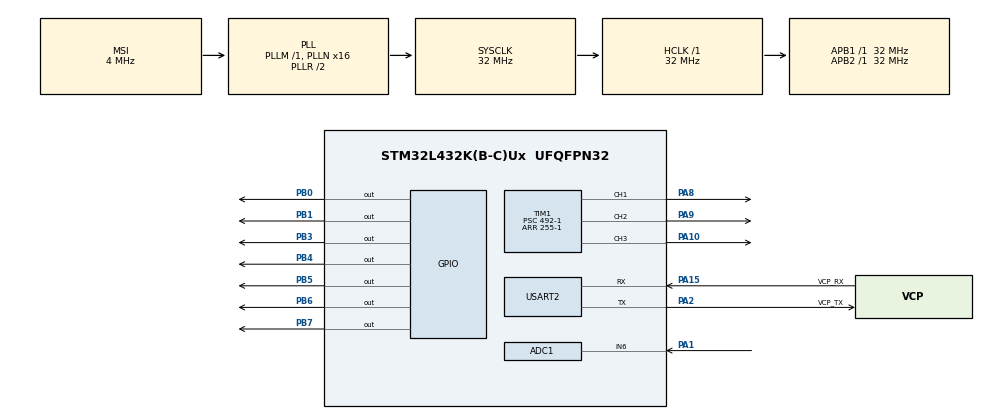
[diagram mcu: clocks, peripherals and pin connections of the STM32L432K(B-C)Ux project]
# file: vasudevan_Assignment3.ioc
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ADC1.Channel-0\#ChannelRegularConversion=ADC_CHANNEL_6
ADC1.NbrOfConversionFlag=1
ADC1.OffsetNumber-0\#ChannelRegularConversion=ADC_OFFSET_NONE
ADC1.Rank-0\#ChannelRegularConversion=1
ADC1.SamplingTime-0\#ChannelRegularConversion=ADC_SAMPLETIME_2CYCLES_5
ADC1.master=1
Mcu.Family=STM32L4
Mcu.Name=STM32L432K(B-C)Ux
Mcu.Package=UFQFPN32
NVIC.PriorityGroup=NVIC_PRIORITYGROUP_4
PA0.GPIO_Label=MCO [High speed clock in]
PA0.Mode=HSE-External-Clock-Source-for-LittleOrca
PA0.Signal=RCC_CK_IN
PA1.Signal=ADCx_IN6
PA10.Signal=S_TIM1_CH3
PA13\ (JTMS-SWDIO).GPIO_Label=SWDIO
PA13\ (JTMS-SWDIO).Mode=Serial_Wire
PA13\ (JTMS-SWDIO).Signal=SYS_JTMS-SWDIO
PA14\ (JTCK-SWCLK).GPIO_Label=SWCLK
PA14\ (JTCK-SWCLK).Mode=Serial_Wire
PA14\ (JTCK-SWCLK).Signal=SYS_JTCK-SWCLK
PA15\ (JTDI).GPIO_Label=VCP_RX
PA15\ (JTDI).Mode=Asynchronous
PA15\ (JTDI).Signal=USART2_RX
PA2.GPIO_Label=VCP_TX
PA2.Mode=Asynchronous
PA2.Signal=USART2_TX
PA8.Signal=S_TIM1_CH1
PA9.Signal=S_TIM1_CH2
PB0.Signal=GPIO_Output
PB1.Signal=GPIO_Output
PB3\ (JTDO-TRACESWO).Signal=GPIO_Output
PB4\ (NJTRST).Signal=GPIO_Output
PB5.Signal=GPIO_Output
PB6.Signal=GPIO_Output
PB7.Signal=GPIO_Output
PC14-OSC32_IN\ (PC14).Mode=LSE-External-Oscillator
PC14-OSC32_IN\ (PC14).Signal=RCC_OSC32_IN
PC15-OSC32_OUT\ (PC15).Mode=LSE-External-Oscillator
PC15-OSC32_OUT\ (PC15).Signal=RCC_OSC32_OUT
ProjectManager.HeapSize=0x200
ProjectManager.StackSize=0x400
ProjectManager.TargetToolchain=STM32CubeIDE
RCC.AHBFreq_Value=32000000
RCC.APB1Freq_Value=32000000
RCC.APB1TimFreq_Value=32000000
RCC.APB2Freq_Value=32000000
RCC.APB2TimFreq_Value=32000000
RCC.CortexFreq_Value=32000000
RCC.HCLKFreq_Value=32000000
RCC.HSE_VALUE=8000000
RCC.HSI16_VALUE=16000000
RCC.HSI48_VALUE=48000000
RCC.HSI_VALUE=16000000
RCC.MSI_VALUE=4000000
RCC.PLLMUL=RCC_PLLMUL_4
RCC.PLLN=16
RCC.SYSCLKFreq_VALUE=32000000
RCC.SYSCLKSource=RCC_SYSCLKSOURCE_PLLCLK
RCC.VCOOutputFreq_Value=64000000
SH.ADCx_IN6.0=ADC1_IN6,IN6-Single-Ended
SH.S_TIM1_CH1.0=TIM1_CH1,PWM Generation1 CH1
SH.S_TIM1_CH2.0=TIM1_CH2,PWM Generation2 CH2
SH.S_TIM1_CH3.0=TIM1_CH3,PWM Generation3 CH3
TIM1.Channel-PWM\ Generation1\ CH1=TIM_CHANNEL_1
TIM1.Channel-PWM\ Generation2\ CH2=TIM_CHANNEL_2
TIM1.Channel-PWM\ Generation3\ CH3=TIM_CHANNEL_3
TIM1.Period=255-1
TIM1.Prescaler=492-1
USART2.VirtualMode-Asynchronous=VM_ASYNC
VP_TIM1_VS_ClockSourceINT.Mode=Internal
VP_TIM2_VS_ClockSourceINT.Mode=Internal
board=NUCLEO-L432KC

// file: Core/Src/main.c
/* USER CODE BEGIN Header */
/**
  ******************************************************************************
  * FILE           : main.c
  * PROJECT        : vasudevan_assignment3
  * PROGRAMMER     : Pranav Manakkulamparambil Vasudevan
  * FIRST VERSION  : 2020-03-22
  * DESCRIPTION    : Code for embedded system implementing the multi-access-point
  *                  thermometer by using the STM32L432 Nucleo-32 board.This
  *                  multi-access point thermometer can be used in hospitals to
  *                  monitor patients’temperatures from different location.This
  *                  embedded software determines the temperature of patient using
  *                  Mcp9700 thermistor and converted it in to degree Celsius and
  *                  degree fahrenheiet. The temperature values are displayed on
  *                  lcd HD44780 and putty. The RGB led light indicates different
  *                  colors when the temperature are in different region. When the
  *                  temperature is not in the desired region an appropriate message
  *                  is shown in the putty screen.
  ******************************************************************************
  * @attention
  *
  * <h2><center>&copy; Copyright (c) 2020 STMicroelectronics.
  * All rights reserved.</center></h2>
  *
  * This software component is licensed by ST under BSD 3-Clause license,
  * the "License"; You may not use this file except in compliance with the
  * License. You may obtain a copy of the License at:
  *                        opensource.org/licenses/BSD-3-Clause
  *
  ******************************************************************************
  */
/* USER CODE END Header */

#include "main.h"
#include "stdio.h"// header file for printf function

ADC_HandleTypeDef hadc1;

TIM_HandleTypeDef htim1;
TIM_HandleTypeDef htim2;

UART_HandleTypeDef huart2;

void SystemClock_Config(void);
static void MX_GPIO_Init(void);
static void MX_USART2_UART_Init(void);
static void MX_ADC1_Init(void);
static void MX_TIM1_Init(void);
static void MX_TIM2_Init(void);

/* USER CODE BEGIN 0 */

char stringBuffer[16]= {0}; // string value for sprintf function for the lcd
long measureVoltage=0.0; //initializing the ADC value form the thermistor
float sensorvoltage=0.0;// initializing the voltage value from the sensor at
                           //a particular temperature
float tempDegree=0.0;// initializing the temperature value in degree celsius
float tempFahrenheit=0.0;//initializing the temperature value in degree fahrenheit
float cal= 0.1132;// calebrated error factor for thermistor to have an accurate measurement

/*FUNCTION   :void turnLed(uint8_t red, uint8_t green, uint8_t blue)

 * DESCRIPTION: store the decimal value equivalent to the intensity of the corresponding
 *              color to the register.0 indicates the color is off completely and 255
 *              indicates the color is fully turned on. secondary colors can generated
 *              by mixing the primary colors with different intensity

 * PARAMETERS : red : intensity of red light
 *              green: intensity of green light
 *              blue : intensity of blue light

 * RETURNS    : Nothing
 */

void turnLed(uint8_t red, uint8_t green, uint8_t blue)
{
	htim1.Instance->CCR1 = red; //intensity of red light
	htim1.Instance->CCR2 = green;//intensity of green  light
	htim1.Instance->CCR3 = blue;//intensity of blue light
}
/*FUNCTION   :float measureTemp(ADC_HandleTypeDef *hadc1)

 * DESCRIPTION: Get the 12 bit ADC values from the thermistor and convert it
                in to degree celsius and degree fahrenheit. Printing the temperature
                values to putty screen
 * PARAMETERS : ADC_HandleTypeDef *hadc1 : the address of type definition for ADC
 * RETURNS    : tempDegree : temperature in degree celsius
 */
float measureTemp(ADC_HandleTypeDef *hadc1)
{
	HAL_ADC_Start(&*hadc1);//enable adc and conversion of regular group
	HAL_ADC_PollForConversion(&*hadc1, 1000);// fuction call for poll conversion
	HAL_ADC_GetValue(&*hadc1);// fuction for getting the adc value from thermistor
	measureVoltage = HAL_ADC_GetValue(&*hadc1);//assigning the obatained value of adc to variable
	sensorvoltage = (3.3 / 4095) * measureVoltage;//determining the voltage from thermistor
	sensorvoltage = sensorvoltage + cal;// calebrated voltage from the sensor
	tempDegree = (sensorvoltage - 0.5) * 100;//converting the sensor voltage into degree celsius
	tempFahrenheit = (tempDegree * 9.0 / 5.0) + 32.0;//converting the degree celsius into degree fahrenheit
	printf("\n\rtemperature in Degree Celsius :%f\r\n", tempDegree);//print celsius value to putty
	printf("\ntemperature in Degree Fahrenheit :%f\r\n", tempFahrenheit);//print fahrenheit value to putty
	HAL_ADC_Stop(&*hadc1);//stop adc convertion of regular group
	return tempDegree;// returning celsius value.
}
/*FUNCTION   :void ledSignal(float tempDegree)

 * DESCRIPTION: Light the led into different colors depending up on the temperature
 * PARAMETERS : tempDegree : the temperature in degree celsius
 * RETURNS    : nothing
 */
void ledSignal(float tempDegree)
{
	if (-40 <= tempDegree && tempDegree <= 20.5)
	{
		turnLed(0, 0, 255); //blue
	}
	else if (20.5 < tempDegree && tempDegree <= 37.3)
	{
		turnLed(0, 255, 0); //green
	}
	else if (37.3 < tempDegree && tempDegree <= 39.5)
	{
		turnLed(255, 165, 0); //orange
	}
	else if (39.5 < tempDegree && tempDegree <= 150.0)
	{
		turnLed(255, 0, 0); //red
	}
	else// when the temperature not in the desired range
	{
		printf("CRITICAL (system fail):temperature is not in the limits\r\n");
        turnLed(255, 255, 255);//white color showed to indicate the system is failed
	}
}
/*FUNCTION   :messageLed(float tempDegree)
 * DESCRIPTION: shows appropriate verdicts depends on the temperature value
 * PARAMETERS : tempDegree : the temperature in degree celsius
 * RETURNS    : nothing
 */
void messageLed(float tempDegree)
{
	HD44780_GotoXY(0, 1);// setting the cursor to the second row of the lcd
	if (-40 <= tempDegree && tempDegree <= 20.5)
	{
		HD44780_PutStr("Low temp");
		HAL_Delay(2000);
	}
	else if (20.5 < tempDegree && tempDegree <= 37.3)
	{
		HD44780_PutStr("Medium temp");
		HAL_Delay(2000);
	} else if
	(37.3 < tempDegree && tempDegree <= 39.5)
	{
		HD44780_PutStr("Precaution");
		HAL_Delay(2000);
	}
	else if (39.5 < tempDegree && tempDegree <= 150.0) {
		HD44780_PutStr("High temp");
		HAL_Delay(2000);
	}
	else // when the temperature not in the desired range
	{
		HD44780_PutStr("Warning");
		HAL_Delay(2000);
	}
}

/*FUNCTION   :void lcdDisplay(char stringBuffer[16], float tempDegree, float tempFahrenheit)

 * DESCRIPTION: Get the 12 bit ADC values from the thermistor and convert it
                in to degree celsius and degree fahrenheit. Printing the temperature
                values to putty screen

 * PARAMETERS : stringBuffer[16]: buffer value for the lcd screen
 *              tempDegree: temperature in degree celsius
 *              tempFahernheit: temperature in degree Fahernheit
 *
 * RETURNS    : nothing
 */
void lcdDisplay(char stringBuffer[16], float tempDegree, float tempFahrenheit)
{

	HD44780_Init();// initializing lcd
	sprintf(stringBuffer, "Deg =%f", tempDegree);//printing celsius value
	HD44780_PutStr(stringBuffer);// string buffer value
	messageLed(tempDegree);//fuction call to print the verdict
	HAL_Delay(2000);
	HD44780_ClrScr();//clear lcd
	HAL_Delay(1);
	sprintf(stringBuffer, "Far =%f", tempFahrenheit);//printing fahrenheit value
	HD44780_PutStr(stringBuffer);// string buffer value
	messageLed(tempDegree);//funtion call to print the verdict
	HAL_Delay(2000);
}

/* USER CODE END 0 */

int main(void)
{

  /* MCU Configuration--------------------------------------------------------*/

  /* Reset of all peripherals, Initializes the Flash interface and the Systick. */
  HAL_Init();

  /* Configure the system clock */
  SystemClock_Config();

  /* Initialize all configured peripherals */
  MX_GPIO_Init();
  MX_USART2_UART_Init();
  MX_ADC1_Init();
  MX_TIM1_Init();
  MX_TIM2_Init();
  /* USER CODE BEGIN 2 */
  //initializing timer 1 for 3 channels which is generated internally for PWM
  HAL_TIM_PWM_Start (&htim1, TIM_CHANNEL_1);//
  HAL_TIM_PWM_Start (&htim1, TIM_CHANNEL_2);
  HAL_TIM_PWM_Start (&htim1, TIM_CHANNEL_3);

  /* USER CODE END 2 */

  /* Infinite loop */
  /* USER CODE BEGIN WHILE */
  while (1)
  {

		measureTemp(&hadc1);// function call for measure the temperature
		ledSignal(tempDegree);// function call for light the led
        lcdDisplay(stringBuffer, tempDegree, tempFahrenheit);//function call to display the temp values to the lcd
    /* USER CODE END WHILE */

  }
}

void SystemClock_Config(void)
{
  RCC_OscInitTypeDef RCC_OscInitStruct = {0};
  RCC_ClkInitTypeDef RCC_ClkInitStruct = {0};
  RCC_PeriphCLKInitTypeDef PeriphClkInit = {0};

  /** Configure LSE Drive Capability
  */
  HAL_PWR_EnableBkUpAccess();
  __HAL_RCC_LSEDRIVE_CONFIG(RCC_LSEDRIVE_LOW);
  /** Initializes the CPU, AHB and APB busses clocks
  */
  RCC_OscInitStruct.OscillatorType = RCC_OSCILLATORTYPE_LSE|RCC_OSCILLATORTYPE_MSI;
  RCC_OscInitStruct.LSEState = RCC_LSE_ON;
  RCC_OscInitStruct.MSIState = RCC_MSI_ON;
  RCC_OscInitStruct.MSICalibrationValue = 0;
  RCC_OscInitStruct.MSIClockRange = RCC_MSIRANGE_6;
  RCC_OscInitStruct.PLL.PLLState = RCC_PLL_ON;
  RCC_OscInitStruct.PLL.PLLSource = RCC_PLLSOURCE_MSI;
  RCC_OscInitStruct.PLL.PLLM = 1;
  RCC_OscInitStruct.PLL.PLLN = 16;
  RCC_OscInitStruct.PLL.PLLP = RCC_PLLP_DIV7;
  RCC_OscInitStruct.PLL.PLLQ = RCC_PLLQ_DIV2;
  RCC_OscInitStruct.PLL.PLLR = RCC_PLLR_DIV2;
  if (HAL_RCC_OscConfig(&RCC_OscInitStruct) != HAL_OK)
  {
    Error_Handler();
  }
  /** Initializes the CPU, AHB and APB busses clocks
  */
  RCC_ClkInitStruct.ClockType = RCC_CLOCKTYPE_HCLK|RCC_CLOCKTYPE_SYSCLK
                              |RCC_CLOCKTYPE_PCLK1|RCC_CLOCKTYPE_PCLK2;
  RCC_ClkInitStruct.SYSCLKSource = RCC_SYSCLKSOURCE_PLLCLK;
  RCC_ClkInitStruct.AHBCLKDivider = RCC_SYSCLK_DIV1;
  RCC_ClkInitStruct.APB1CLKDivider = RCC_HCLK_DIV1;
  RCC_ClkInitStruct.APB2CLKDivider = RCC_HCLK_DIV1;

  if (HAL_RCC_ClockConfig(&RCC_ClkInitStruct, FLASH_LATENCY_1) != HAL_OK)
  {
    Error_Handler();
  }
  PeriphClkInit.PeriphClockSelection = RCC_PERIPHCLK_USART2|RCC_PERIPHCLK_ADC;
  PeriphClkInit.Usart2ClockSelection = RCC_USART2CLKSOURCE_PCLK1;
  PeriphClkInit.AdcClockSelection = RCC_ADCCLKSOURCE_PLLSAI1;
  PeriphClkInit.PLLSAI1.PLLSAI1Source = RCC_PLLSOURCE_MSI;
  PeriphClkInit.PLLSAI1.PLLSAI1M = 1;
  PeriphClkInit.PLLSAI1.PLLSAI1N = 8;
  PeriphClkInit.PLLSAI1.PLLSAI1P = RCC_PLLP_DIV7;
  PeriphClkInit.PLLSAI1.PLLSAI1Q = RCC_PLLQ_DIV2;
  PeriphClkInit.PLLSAI1.PLLSAI1R = RCC_PLLR_DIV2;
  PeriphClkInit.PLLSAI1.PLLSAI1ClockOut = RCC_PLLSAI1_ADC1CLK;
  if (HAL_RCCEx_PeriphCLKConfig(&PeriphClkInit) != HAL_OK)
  {
    Error_Handler();
  }
  /** Configure the main internal regulator output voltage
  */
  if (HAL_PWREx_ControlVoltageScaling(PWR_REGULATOR_VOLTAGE_SCALE1) != HAL_OK)
  {
    Error_Handler();
  }
  /** Enable MSI Auto calibration
  */
  HAL_RCCEx_EnableMSIPLLMode();
}

static void MX_ADC1_Init(void)
{

  ADC_ChannelConfTypeDef sConfig = {0};

  /** Common config
  */
  hadc1.Instance = ADC1;
  hadc1.Init.ClockPrescaler = ADC_CLOCK_ASYNC_DIV1;
  hadc1.Init.Resolution = ADC_RESOLUTION_12B;
  hadc1.Init.DataAlign = ADC_DATAALIGN_RIGHT;
  hadc1.Init.ScanConvMode = ADC_SCAN_DISABLE;
  hadc1.Init.EOCSelection = ADC_EOC_SINGLE_CONV;
  hadc1.Init.LowPowerAutoWait = DISABLE;
  hadc1.Init.ContinuousConvMode = DISABLE;
  hadc1.Init.NbrOfConversion = 1;
  hadc1.Init.DiscontinuousConvMode = DISABLE;
  hadc1.Init.NbrOfDiscConversion = 1;
  hadc1.Init.ExternalTrigConv = ADC_SOFTWARE_START;
  hadc1.Init.ExternalTrigConvEdge = ADC_EXTERNALTRIGCONVEDGE_NONE;
  hadc1.Init.DMAContinuousRequests = DISABLE;
  hadc1.Init.Overrun = ADC_OVR_DATA_PRESERVED;
  hadc1.Init.OversamplingMode = DISABLE;
  if (HAL_ADC_Init(&hadc1) != HAL_OK)
  {
    Error_Handler();
  }
  /** Configure Regular Channel
  */
  sConfig.Channel = ADC_CHANNEL_6;
  sConfig.Rank = ADC_REGULAR_RANK_1;
  sConfig.SamplingTime = ADC_SAMPLETIME_2CYCLES_5;
  sConfig.SingleDiff = ADC_SINGLE_ENDED;
  sConfig.OffsetNumber = ADC_OFFSET_NONE;
  sConfig.Offset = 0;
  if (HAL_ADC_ConfigChannel(&hadc1, &sConfig) != HAL_OK)
  {
    Error_Handler();
  }

}

static void MX_TIM1_Init(void)
{

  TIM_ClockConfigTypeDef sClockSourceConfig = {0};
  TIM_MasterConfigTypeDef sMasterConfig = {0};
  TIM_OC_InitTypeDef sConfigOC = {0};
  TIM_BreakDeadTimeConfigTypeDef sBreakDeadTimeConfig = {0};

  htim1.Instance = TIM1;
  htim1.Init.Prescaler = 492-1;
  htim1.Init.CounterMode = TIM_COUNTERMODE_UP;
  htim1.Init.Period = 255-1;
  htim1.Init.ClockDivision = TIM_CLOCKDIVISION_DIV1;
  htim1.Init.RepetitionCounter = 0;
  htim1.Init.AutoReloadPreload = TIM_AUTORELOAD_PRELOAD_DISABLE;
  if (HAL_TIM_Base_Init(&htim1) != HAL_OK)
  {
    Error_Handler();
  }
  sClockSourceConfig.ClockSource = TIM_CLOCKSOURCE_INTERNAL;
  if (HAL_TIM_ConfigClockSource(&htim1, &sClockSourceConfig) != HAL_OK)
  {
    Error_Handler();
  }
  if (HAL_TIM_PWM_Init(&htim1) != HAL_OK)
  {
    Error_Handler();
  }
  sMasterConfig.MasterOutputTrigger = TIM_TRGO_RESET;
  sMasterConfig.MasterOutputTrigger2 = TIM_TRGO2_RESET;
  sMasterConfig.MasterSlaveMode = TIM_MASTERSLAVEMODE_DISABLE;
  if (HAL_TIMEx_MasterConfigSynchronization(&htim1, &sMasterConfig) != HAL_OK)
  {
    Error_Handler();
  }
  sConfigOC.OCMode = TIM_OCMODE_PWM1;
  sConfigOC.Pulse = 0;
  sConfigOC.OCPolarity = TIM_OCPOLARITY_HIGH;
  sConfigOC.OCNPolarity = TIM_OCNPOLARITY_HIGH;
  sConfigOC.OCFastMode = TIM_OCFAST_DISABLE;
  sConfigOC.OCIdleState = TIM_OCIDLESTATE_RESET;
  sConfigOC.OCNIdleState = TIM_OCNIDLESTATE_RESET;
  if (HAL_TIM_PWM_ConfigChannel(&htim1, &sConfigOC, TIM_CHANNEL_1) != HAL_OK)
  {
    Error_Handler();
  }
  if (HAL_TIM_PWM_ConfigChannel(&htim1, &sConfigOC, TIM_CHANNEL_2) != HAL_OK)
  {
    Error_Handler();
  }
  if (HAL_TIM_PWM_ConfigChannel(&htim1, &sConfigOC, TIM_CHANNEL_3) != HAL_OK)
  {
    Error_Handler();
  }
  sBreakDeadTimeConfig.OffStateRunMode = TIM_OSSR_DISABLE;
  sBreakDeadTimeConfig.OffStateIDLEMode = TIM_OSSI_DISABLE;
  sBreakDeadTimeConfig.LockLevel = TIM_LOCKLEVEL_OFF;
  sBreakDeadTimeConfig.DeadTime = 0;
  sBreakDeadTimeConfig.BreakState = TIM_BREAK_DISABLE;
  sBreakDeadTimeConfig.BreakPolarity = TIM_BREAKPOLARITY_HIGH;
  sBreakDeadTimeConfig.BreakFilter = 0;
  sBreakDeadTimeConfig.Break2State = TIM_BREAK2_DISABLE;
  sBreakDeadTimeConfig.Break2Polarity = TIM_BREAK2POLARITY_HIGH;
  sBreakDeadTimeConfig.Break2Filter = 0;
  sBreakDeadTimeConfig.AutomaticOutput = TIM_AUTOMATICOUTPUT_DISABLE;
  if (HAL_TIMEx_ConfigBreakDeadTime(&htim1, &sBreakDeadTimeConfig) != HAL_OK)
  {
    Error_Handler();
  }
  HAL_TIM_MspPostInit(&htim1);

}

static void MX_TIM2_Init(void)
{

  TIM_ClockConfigTypeDef sClockSourceConfig = {0};
  TIM_MasterConfigTypeDef sMasterConfig = {0};

  htim2.Instance = TIM2;
  htim2.Init.Prescaler = 0;
  htim2.Init.CounterMode = TIM_COUNTERMODE_UP;
  htim2.Init.Period = 0;
  htim2.Init.ClockDivision = TIM_CLOCKDIVISION_DIV1;
  htim2.Init.AutoReloadPreload = TIM_AUTORELOAD_PRELOAD_DISABLE;
  if (HAL_TIM_Base_Init(&htim2) != HAL_OK)
  {
    Error_Handler();
  }
  sClockSourceConfig.ClockSource = TIM_CLOCKSOURCE_INTERNAL;
  if (HAL_TIM_ConfigClockSource(&htim2, &sClockSourceConfig) != HAL_OK)
  {
    Error_Handler();
  }
  sMasterConfig.MasterOutputTrigger = TIM_TRGO_RESET;
  sMasterConfig.MasterSlaveMode = TIM_MASTERSLAVEMODE_DISABLE;
  if (HAL_TIMEx_MasterConfigSynchronization(&htim2, &sMasterConfig) != HAL_OK)
  {
    Error_Handler();
  }

}

static void MX_USART2_UART_Init(void)
{

  huart2.Instance = USART2;
  huart2.Init.BaudRate = 115200;
  huart2.Init.WordLength = UART_WORDLENGTH_8B;
  huart2.Init.StopBits = UART_STOPBITS_1;
  huart2.Init.Parity = UART_PARITY_NONE;
  huart2.Init.Mode = UART_MODE_TX_RX;
  huart2.Init.HwFlowCtl = UART_HWCONTROL_NONE;
  huart2.Init.OverSampling = UART_OVERSAMPLING_16;
  huart2.Init.OneBitSampling = UART_ONE_BIT_SAMPLE_DISABLE;
  huart2.AdvancedInit.AdvFeatureInit = UART_ADVFEATURE_NO_INIT;
  if (HAL_UART_Init(&huart2) != HAL_OK)
  {
    Error_Handler();
  }

}

static void MX_GPIO_Init(void)
{
  GPIO_InitTypeDef GPIO_InitStruct = {0};

  /* GPIO Ports Clock Enable */
  __HAL_RCC_GPIOC_CLK_ENABLE();
  __HAL_RCC_GPIOA_CLK_ENABLE();
  __HAL_RCC_GPIOB_CLK_ENABLE();

  /*Configure GPIO pin Output Level */
  HAL_GPIO_WritePin(GPIOB, GPIO_PIN_0|GPIO_PIN_1|GPIO_PIN_3|GPIO_PIN_4
                          |GPIO_PIN_5|GPIO_PIN_6|GPIO_PIN_7, GPIO_PIN_RESET);

  /*Configure GPIO pins : PB0 PB1 PB3 PB4
                           PB5 PB6 PB7 */
  GPIO_InitStruct.Pin = GPIO_PIN_0|GPIO_PIN_1|GPIO_PIN_3|GPIO_PIN_4
                          |GPIO_PIN_5|GPIO_PIN_6|GPIO_PIN_7;
  GPIO_InitStruct.Mode = GPIO_MODE_OUTPUT_PP;
  GPIO_InitStruct.Pull = GPIO_NOPULL;
  GPIO_InitStruct.Speed = GPIO_SPEED_FREQ_LOW;
  HAL_GPIO_Init(GPIOB, &GPIO_InitStruct);

}

void Error_Handler(void)
{
}

/************************ (C) COPYRIGHT STMicroelectronics *****END OF FILE****/
